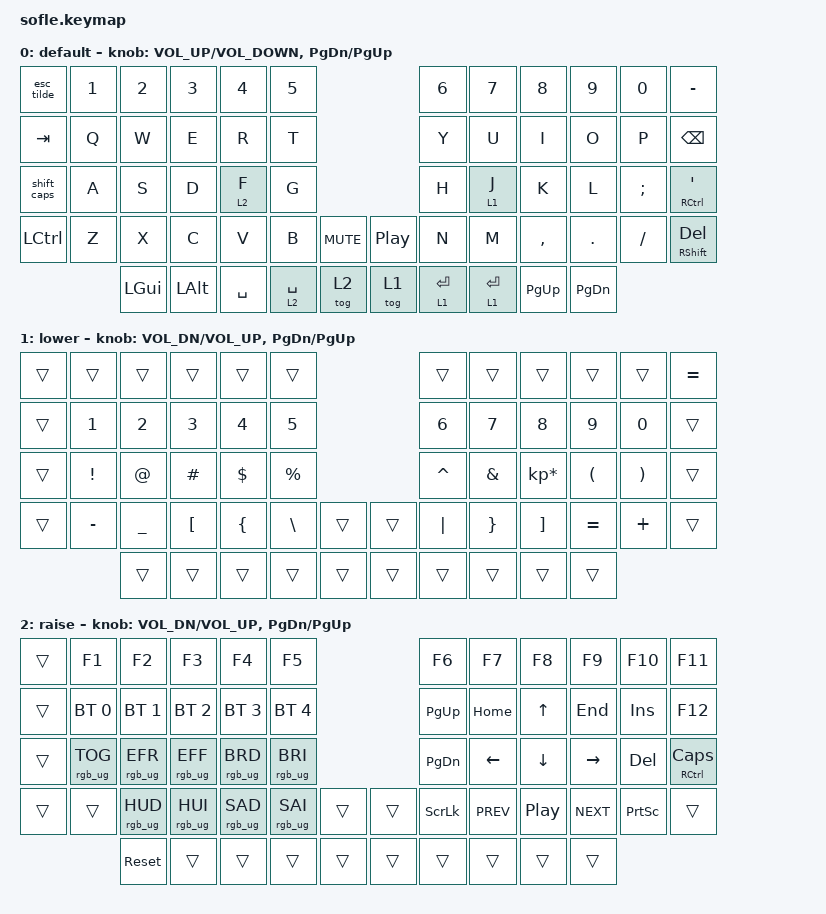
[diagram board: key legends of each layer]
/*
 * Copyright (c) 2020 The ZMK Contributors
 *
 * SPDX-License-Identifier: MIT
 */

#include <behaviors.dtsi>
#include <dt-bindings/zmk/bt.h>
#include <dt-bindings/zmk/keys.h>
#include <dt-bindings/zmk/rgb.h>

/ {
    behaviors {
        esc_tilde: esc_tilde {
            compatible = "zmk,behavior-tap-dance";
            label = "ESC_TILDE";
            #binding-cells = <0>;
            bindings = <&kp ESCAPE>, <&kp GRAVE>;
        };

        shift_caps: shift_caps {
            compatible = "zmk,behavior-tap-dance";
            label = "SHIFT_CAPS";
            #binding-cells = <0>;
            bindings = <&kp LEFT_SHIFT>, <&kp CAPSLOCK>;
        };
    };

    combos {
        compatible = "zmk,combos";

        bt-profile-0 {
            bindings = <&bt BT_SEL 0>;
            key-positions = <26 27 28>;
        };

        bt-profile-1 {
            bindings = <&bt BT_SEL 1>;
            key-positions = <31 32 33>;
        };

        bt-clear-profile {
            bindings = <&bt BT_CLR>;
            key-positions = <13 14 15>;
            layers = <2>;
        };

        code-curly-open {
            bindings = <&kp LEFT_BRACE>;
            key-positions = <27 28>;
            layers = <0>;
        };

        code-curly-close {
            bindings = <&kp RIGHT_BRACE>;
            key-positions = <32 31>;
            layers = <0>;
        };

        code-bracket-open {
            bindings = <&kp LBKT>;
            key-positions = <26 27>;
            layers = <0>;
        };

        code-bracket-close {
            bindings = <&kp RIGHT_BRACKET>;
            key-positions = <32 33>;
            layers = <0>;
        };
    };

    keymap {
        compatible = "zmk,keymap";

        default_layer {
            // ------------------------------------------------------------------------------------------------------------
            // |  `    |  1  |  2  |  3   |  4   |  5   |                   |  6   |  7    |  8    |  9   |   0   |   \   |
            // |  TAB  |  Q  |  W  |  E   |  R   |  T   |                   |  Y   |  U    |  I    |  O   |   P   | BKSPC |
            // | C/ESC |  A  |  S  |  D   |  F   |  G   |                   |  H   |  J    |  K    |  L   |   ;   |  C/'  |
            // | SHIFT |  Z  |  X  |  C   |  V   |  B   |  MUTE  |  | PLAY  |  N   |  M    |  ,    |  .   |   /   | SHIFT |
            //               | CAPS| ALT  | GUI/-| SPACE|LOWER/[ |  |RAISE/]| ENTER|  GUI/=|  ALT  | CTRL |

            bindings = <
&esc_tilde        &kp N1  &kp N2        &kp N3        &kp N4     &kp N5                               &kp N6       &kp N7       &kp N8       &kp N9         &kp N0    &kp MINUS
&kp TAB           &kp Q   &kp W         &kp E         &kp R      &kp T                                &kp Y        &kp U        &kp I        &kp O          &kp P     &kp BSPC
&shift_caps       &kp A   &kp S         &kp D         &lt 2 F    &kp G                                &kp H        &lt 1 J      &kp K        &kp L          &kp SEMI  &mt RCTRL SQT
&kp LEFT_CONTROL  &kp Z   &kp X         &kp C         &kp V      &kp B        &kp C_MUTE    &kp C_PP  &kp N        &kp M        &kp COMMA    &kp DOT        &kp FSLH  &mt RIGHT_SHIFT DELETE
                          &kp LEFT_GUI  &kp LEFT_ALT  &kp SPACE  &lt 2 SPACE  &tog 2        &tog 1    &lt 1 ENTER  &lt 1 ENTER  &kp PAGE_UP  &kp PAGE_DOWN
            >;

            sensor-bindings =
                <&inc_dec_kp C_VOLUME_UP C_VOLUME_DOWN>,
                <&inc_dec_kp PAGE_DOWN PAGE_UP>;

            label = "default";
        };

        lower_layer {
            // ------------------------------------------------------------------------------------------------------------
            // |       |  F1 |  F2 |  F3  |  F4  |  F5  |                   |  F6  |  F7   |  F8   |  F9  |  F10  |  F11  |
            // |       |   1 |   2 |   3  |   4  |   5  |                   |   6  |   7   |   8   |   9  |    0  |  F12  |
            // |       |  !  |  @  |  #   |  $   |  %   |                   |  ^   |  &    |  *    |  (   |   )   |       |
            // |       |  -  |  _  |  [   |  {   |  \   |        |  |       |  |   |  }    |  ]    |  =   |   +   |       |
            //               |     |      |      |      |        |  |       |      |       |       |      |

            bindings = <
&trans  &trans     &trans     &trans    &trans    &trans                       &trans     &trans    &trans           &trans     &trans    &kp EQUAL
&trans  &kp N1     &kp N2     &kp N3    &kp N4    &kp N5                       &kp N6     &kp N7    &kp N8           &kp N9     &kp N0    &trans
&trans  &kp EXCL   &kp AT     &kp HASH  &kp DLLR  &kp PRCNT                    &kp CARET  &kp AMPS  &kp KP_MULTIPLY  &kp LPAR   &kp RPAR  &trans
&trans  &kp MINUS  &kp UNDER  &kp LBKT  &kp LBRC  &kp BSLH   &trans    &trans  &kp PIPE   &kp RBRC  &kp RBKT         &kp EQUAL  &kp PLUS  &trans
                   &trans     &trans    &trans    &trans     &trans    &trans  &trans     &trans    &trans           &trans
            >;

            sensor-bindings = <&inc_dec_kp C_VOL_DN C_VOL_UP &inc_dec_kp PG_DN PG_UP>;
            label = "lower";
        };

        raise_layer {
            // ------------------------------------------------------------------------------------------------------------
            // |     |  F1  |  F2  |  F3   |  F4   |  F5  |                |  F6  |  F7  |  F8   |  F9  |  F10  |  F11  |
            // |     | BT1  | BT2  |  BT3  |  BT4  |  BT5 |                | PGUP |  END |   ^   | HOME |  INS  |  F12  |
            // |     | RGBT | RGB- | RGB+  |  BR-  |  BR+ |                | PGDN |   <- |   v   | ->   |  DEL  | C/CAPS|
            // |     |BTCLR | HUD  | HUI   |  SAD  |  SAI |      |  |      | SCRL | PRVS | PLAY  | NEXT |  PSCR |       |
            //              |      |       |       |      |      |  |      |      |      |       |      |

            bindings = <
&trans  &kp F1           &kp F2           &kp F3           &kp F4           &kp F5                             &kp F6     &kp F7      &kp F8    &kp F9      &kp F10    &kp F11
&trans  &bt BT_SEL 0     &bt BT_SEL 1     &bt BT_SEL 2     &bt BT_SEL 3     &bt BT_SEL 4                       &kp PG_UP  &kp HOME    &kp UP    &kp END     &kp INS    &kp F12
&trans  &rgb_ug RGB_TOG  &rgb_ug RGB_EFR  &rgb_ug RGB_EFF  &rgb_ug RGB_BRD  &rgb_ug RGB_BRI                    &kp PG_DN  &kp LEFT    &kp DOWN  &kp RIGHT   &kp DEL    &mt RCTRL CLCK
&trans  &trans           &rgb_ug RGB_HUD  &rgb_ug RGB_HUI  &rgb_ug RGB_SAD  &rgb_ug RGB_SAI  &trans    &trans  &kp SLCK   &kp C_PREV  &kp C_PP  &kp C_NEXT  &kp PSCRN  &trans
                         &sys_reset       &trans           &trans           &trans           &trans    &trans  &trans     &trans      &trans    &trans
            >;

            sensor-bindings = <&inc_dec_kp C_VOL_DN C_VOL_UP &inc_dec_kp PG_DN PG_UP>;
            label = "raise";
        };
    };
};
